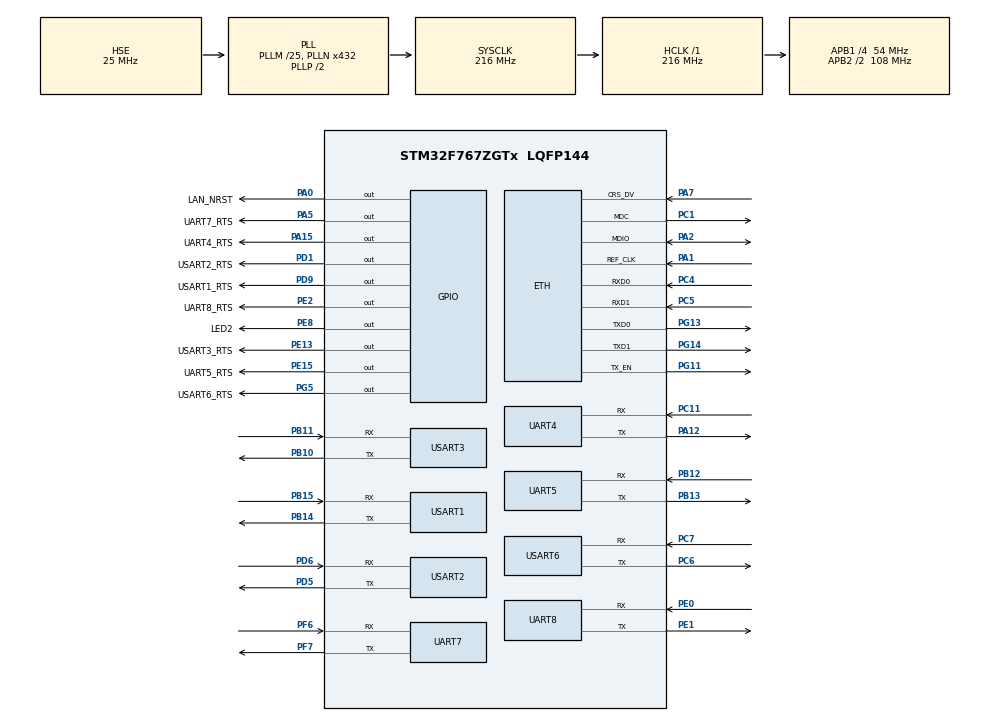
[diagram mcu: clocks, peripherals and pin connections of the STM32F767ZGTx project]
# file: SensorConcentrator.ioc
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CORTEX_M7.ART_ACCELERATOR_ENABLE=1
CORTEX_M7.AccessPermission_Spec=MPU_REGION_FULL_ACCESS
CORTEX_M7.BaseAddress_Spec=0x20000000
CORTEX_M7.CPU_DCache=Enabled
CORTEX_M7.CPU_ICache=Enabled
CORTEX_M7.DisableExec_Spec=MPU_INSTRUCTION_ACCESS_ENABLE
CORTEX_M7.Enable_S-Cortex_Memory_Protection_Unit_Region1_Settings_S=__NULL
CORTEX_M7.Enable_S-Cortex_Memory_Protection_Unit_Region2_Settings_S=__NULL
CORTEX_M7.IsBufferable_Spec=MPU_ACCESS_NOT_BUFFERABLE
CORTEX_M7.IsCacheable_Spec=MPU_ACCESS_NOT_CACHEABLE
CORTEX_M7.IsShareable_Spec=MPU_ACCESS_SHAREABLE
CORTEX_M7.Size_Spec=MPU_REGION_SIZE_512KB
CORTEX_M7.SubRegionDisable_Spec=0x00
CORTEX_M7.TypeExtField_Spec=MPU_TEX_LEVEL1
CORTEX_M7.default_mode_Activation=1
Dma.Request0=USART1_RX
Dma.Request1=USART1_TX
Dma.Request10=UART5_RX
Dma.Request11=UART5_TX
Dma.Request2=USART2_RX
Dma.Request3=USART2_TX
Dma.Request4=USART3_RX
Dma.Request5=USART3_TX
Dma.Request6=USART6_RX
Dma.Request7=USART6_TX
Dma.Request8=UART4_RX
Dma.Request9=UART4_TX
Dma.UART4_RX.8.Direction=DMA_PERIPH_TO_MEMORY
Dma.UART4_RX.8.FIFOMode=DMA_FIFOMODE_DISABLE
Dma.UART4_RX.8.Instance=DMA1_Stream2
Dma.UART4_RX.8.MemDataAlignment=DMA_MDATAALIGN_BYTE
Dma.UART4_RX.8.MemInc=DMA_MINC_ENABLE
Dma.UART4_RX.8.Mode=DMA_CIRCULAR
Dma.UART4_RX.8.PeriphDataAlignment=DMA_PDATAALIGN_BYTE
Dma.UART4_RX.8.PeriphInc=DMA_PINC_DISABLE
Dma.UART4_RX.8.Priority=DMA_PRIORITY_LOW
Dma.UART4_TX.9.Direction=DMA_MEMORY_TO_PERIPH
Dma.UART4_TX.9.FIFOMode=DMA_FIFOMODE_DISABLE
Dma.UART4_TX.9.Instance=DMA1_Stream4
Dma.UART4_TX.9.MemDataAlignment=DMA_MDATAALIGN_BYTE
Dma.UART4_TX.9.MemInc=DMA_MINC_ENABLE
Dma.UART4_TX.9.Mode=DMA_NORMAL
Dma.UART4_TX.9.PeriphDataAlignment=DMA_PDATAALIGN_BYTE
Dma.UART4_TX.9.PeriphInc=DMA_PINC_DISABLE
Dma.UART4_TX.9.Priority=DMA_PRIORITY_LOW
Dma.UART5_RX.10.Direction=DMA_PERIPH_TO_MEMORY
Dma.UART5_RX.10.FIFOMode=DMA_FIFOMODE_DISABLE
Dma.UART5_RX.10.Instance=DMA1_Stream0
Dma.UART5_RX.10.MemDataAlignment=DMA_MDATAALIGN_BYTE
Dma.UART5_RX.10.MemInc=DMA_MINC_ENABLE
Dma.UART5_RX.10.Mode=DMA_CIRCULAR
Dma.UART5_RX.10.PeriphDataAlignment=DMA_PDATAALIGN_BYTE
Dma.UART5_RX.10.PeriphInc=DMA_PINC_DISABLE
Dma.UART5_RX.10.Priority=DMA_PRIORITY_LOW
Dma.UART5_TX.11.Direction=DMA_MEMORY_TO_PERIPH
Dma.UART5_TX.11.FIFOMode=DMA_FIFOMODE_DISABLE
Dma.UART5_TX.11.Instance=DMA1_Stream7
Dma.UART5_TX.11.MemDataAlignment=DMA_MDATAALIGN_BYTE
Dma.UART5_TX.11.MemInc=DMA_MINC_ENABLE
Dma.UART5_TX.11.Mode=DMA_NORMAL
Dma.UART5_TX.11.PeriphDataAlignment=DMA_PDATAALIGN_BYTE
Dma.UART5_TX.11.PeriphInc=DMA_PINC_DISABLE
Dma.UART5_TX.11.Priority=DMA_PRIORITY_LOW
Dma.USART1_RX.0.Direction=DMA_PERIPH_TO_MEMORY
Dma.USART1_RX.0.FIFOMode=DMA_FIFOMODE_DISABLE
Dma.USART1_RX.0.Instance=DMA2_Stream2
Dma.USART1_RX.0.MemDataAlignment=DMA_MDATAALIGN_BYTE
Dma.USART1_RX.0.MemInc=DMA_MINC_ENABLE
Dma.USART1_RX.0.Mode=DMA_CIRCULAR
Dma.USART1_RX.0.PeriphDataAlignment=DMA_PDATAALIGN_BYTE
Dma.USART1_RX.0.PeriphInc=DMA_PINC_DISABLE
Dma.USART1_RX.0.Priority=DMA_PRIORITY_LOW
Dma.USART1_TX.1.Direction=DMA_MEMORY_TO_PERIPH
Dma.USART1_TX.1.FIFOMode=DMA_FIFOMODE_DISABLE
Dma.USART1_TX.1.Instance=DMA2_Stream7
Dma.USART1_TX.1.MemDataAlignment=DMA_MDATAALIGN_BYTE
Dma.USART1_TX.1.MemInc=DMA_MINC_ENABLE
Dma.USART1_TX.1.Mode=DMA_NORMAL
Dma.USART1_TX.1.PeriphDataAlignment=DMA_PDATAALIGN_BYTE
Dma.USART1_TX.1.PeriphInc=DMA_PINC_DISABLE
Dma.USART1_TX.1.Priority=DMA_PRIORITY_LOW
Dma.USART2_RX.2.Direction=DMA_PERIPH_TO_MEMORY
Dma.USART2_RX.2.FIFOMode=DMA_FIFOMODE_DISABLE
Dma.USART2_RX.2.Instance=DMA1_Stream5
Dma.USART2_RX.2.MemDataAlignment=DMA_MDATAALIGN_BYTE
Dma.USART2_RX.2.MemInc=DMA_MINC_ENABLE
Dma.USART2_RX.2.Mode=DMA_CIRCULAR
Dma.USART2_RX.2.PeriphDataAlignment=DMA_PDATAALIGN_BYTE
Dma.USART2_RX.2.PeriphInc=DMA_PINC_DISABLE
Dma.USART2_RX.2.Priority=DMA_PRIORITY_LOW
Dma.USART2_TX.3.Direction=DMA_MEMORY_TO_PERIPH
Dma.USART2_TX.3.FIFOMode=DMA_FIFOMODE_DISABLE
Dma.USART2_TX.3.Instance=DMA1_Stream6
Dma.USART2_TX.3.MemDataAlignment=DMA_MDATAALIGN_BYTE
Dma.USART2_TX.3.MemInc=DMA_MINC_ENABLE
Dma.USART2_TX.3.Mode=DMA_NORMAL
Dma.USART2_TX.3.PeriphDataAlignment=DMA_PDATAALIGN_BYTE
Dma.USART2_TX.3.PeriphInc=DMA_PINC_DISABLE
Dma.USART2_TX.3.Priority=DMA_PRIORITY_LOW
Dma.USART3_RX.4.Direction=DMA_PERIPH_TO_MEMORY
Dma.USART3_RX.4.FIFOMode=DMA_FIFOMODE_DISABLE
Dma.USART3_RX.4.Instance=DMA1_Stream1
Dma.USART3_RX.4.MemDataAlignment=DMA_MDATAALIGN_BYTE
Dma.USART3_RX.4.MemInc=DMA_MINC_ENABLE
Dma.USART3_RX.4.Mode=DMA_CIRCULAR
Dma.USART3_RX.4.PeriphDataAlignment=DMA_PDATAALIGN_BYTE
Dma.USART3_RX.4.PeriphInc=DMA_PINC_DISABLE
Dma.USART3_RX.4.Priority=DMA_PRIORITY_LOW
Dma.USART3_TX.5.Direction=DMA_MEMORY_TO_PERIPH
Dma.USART3_TX.5.FIFOMode=DMA_FIFOMODE_DISABLE
Dma.USART3_TX.5.Instance=DMA1_Stream3
Dma.USART3_TX.5.MemDataAlignment=DMA_MDATAALIGN_BYTE
Dma.USART3_TX.5.MemInc=DMA_MINC_ENABLE
Dma.USART3_TX.5.Mode=DMA_NORMAL
Dma.USART3_TX.5.PeriphDataAlignment=DMA_PDATAALIGN_BYTE
Dma.USART3_TX.5.PeriphInc=DMA_PINC_DISABLE
Dma.USART3_TX.5.Priority=DMA_PRIORITY_LOW
Dma.USART6_RX.6.Direction=DMA_PERIPH_TO_MEMORY
Dma.USART6_RX.6.FIFOMode=DMA_FIFOMODE_DISABLE
Dma.USART6_RX.6.Instance=DMA2_Stream1
Dma.USART6_RX.6.MemDataAlignment=DMA_MDATAALIGN_BYTE
Dma.USART6_RX.6.MemInc=DMA_MINC_ENABLE
Dma.USART6_RX.6.Mode=DMA_CIRCULAR
Dma.USART6_RX.6.PeriphDataAlignment=DMA_PDATAALIGN_BYTE
Dma.USART6_RX.6.PeriphInc=DMA_PINC_DISABLE
Dma.USART6_RX.6.Priority=DMA_PRIORITY_LOW
Dma.USART6_TX.7.Direction=DMA_MEMORY_TO_PERIPH
Dma.USART6_TX.7.FIFOMode=DMA_FIFOMODE_DISABLE
Dma.USART6_TX.7.Instance=DMA2_Stream6
Dma.USART6_TX.7.MemDataAlignment=DMA_MDATAALIGN_BYTE
Dma.USART6_TX.7.MemInc=DMA_MINC_ENABLE
Dma.USART6_TX.7.Mode=DMA_NORMAL
Dma.USART6_TX.7.PeriphDataAlignment=DMA_PDATAALIGN_BYTE
Dma.USART6_TX.7.PeriphInc=DMA_PINC_DISABLE
Dma.USART6_TX.7.Priority=DMA_PRIORITY_LOW
ETH.ETH_RX_DESC_CNT=8
ETH.ETH_TX_DESC_CNT=8
ETH.MediaInterface=HAL_ETH_RMII_MODE
ETH.RxDescAddress=0x20010200
ETH.TxDescAddress=0x20010000
FREERTOS.INCLUDE_pcTaskGetTaskName=1
FREERTOS.INCLUDE_uxTaskGetStackHighWaterMark=1
FREERTOS.INCLUDE_uxTaskGetStackHighWaterMark2=1
FREERTOS.INCLUDE_vTaskDelayUntil=1
FREERTOS.INCLUDE_xTaskGetCurrentTaskHandle=1
FREERTOS.Tasks01=defaultTask,0,1024,StartDefaultTask,Default,NULL,Dynamic,NULL,NULL
FREERTOS.configCHECK_FOR_STACK_OVERFLOW=2
FREERTOS.configENABLE_FPU=1
FREERTOS.configMAX_PRIORITIES=20
FREERTOS.configMINIMAL_STACK_SIZE=256
FREERTOS.configQUEUE_REGISTRY_SIZE=16
FREERTOS.configTIMER_QUEUE_LENGTH=16
FREERTOS.configTIMER_TASK_PRIORITY=4
FREERTOS.configTOTAL_HEAP_SIZE=102400
FREERTOS.configUSE_COUNTING_SEMAPHORES=1
FREERTOS.configUSE_MALLOC_FAILED_HOOK=1
FREERTOS.configUSE_RECURSIVE_MUTEXES=1
FREERTOS.configUSE_TIMERS=1
FREERTOS.configUSE_TRACE_FACILITY=1
LWIP.BSP.number=1
LWIP.DEFAULT_THREAD_STACKSIZE=2048
LWIP.ETH_RX_BUFFER_CNT=32
LWIP.LWIP_DHCP=0
LWIP.LWIP_RAM_HEAP_POINTER=0x00000000
LWIP.LWIP_SNTP=1
LWIP.LWIP_TFTP=1
LWIP.MEMP_NUM_PBUF=64
LWIP.MEMP_NUM_TCP_SEG=24
LWIP.MEM_SIZE=24*1024
LWIP.PBUF_POOL_SIZE=32
LWIP.TCPIP_THREAD_STACKSIZE=4096
LWIP.TCP_SND_QUEUELEN=24
LWIP.Version=v2.1.2_Cube
LWIP0.BSP.STBoard=false
LWIP0.BSP.api=BSP_COMPONENT_DRIVER
LWIP0.BSP.component=LAN8742
LWIP0.BSP.instance=LAN8742
LWIP0.BSP.name=Driver_PHY
LWIP0.BSP.semaphore=S_LAN8742
LWIP0.BSP.solution=LAN8742
Mcu.Family=STM32F7
Mcu.Name=STM32F767ZGTx
Mcu.Package=LQFP144
NVIC.DMA1_Stream0_IRQn=true\:5\:0\:false\:false\:true\:true\:false\:true\:true
NVIC.DMA1_Stream1_IRQn=true\:5\:0\:false\:false\:true\:true\:false\:true\:true
NVIC.DMA1_Stream2_IRQn=true\:5\:0\:false\:false\:true\:true\:false\:true\:true
NVIC.DMA1_Stream3_IRQn=true\:5\:0\:false\:false\:true\:true\:false\:true\:true
NVIC.DMA1_Stream4_IRQn=true\:5\:0\:false\:false\:true\:true\:false\:true\:true
NVIC.DMA1_Stream5_IRQn=true\:5\:0\:false\:false\:true\:true\:false\:true\:true
NVIC.DMA1_Stream6_IRQn=true\:5\:0\:false\:false\:true\:true\:false\:true\:true
NVIC.DMA1_Stream7_IRQn=true\:5\:0\:false\:false\:true\:true\:false\:true\:true
NVIC.DMA2_Stream1_IRQn=true\:5\:0\:false\:false\:true\:true\:false\:true\:true
NVIC.DMA2_Stream2_IRQn=true\:5\:0\:false\:false\:true\:true\:false\:true\:true
NVIC.DMA2_Stream6_IRQn=true\:5\:0\:false\:false\:true\:true\:false\:true\:true
NVIC.DMA2_Stream7_IRQn=true\:5\:0\:false\:false\:true\:true\:false\:true\:true
NVIC.ETH_IRQn=true\:5\:0\:false\:false\:true\:true\:true\:true\:true
NVIC.PriorityGroup=NVIC_PRIORITYGROUP_4
NVIC.TIM7_IRQn=true\:15\:0\:false\:false\:true\:false\:false\:true\:true
NVIC.TimeBase=TIM7_IRQn
NVIC.TimeBaseIP=TIM7
NVIC.UART4_IRQn=true\:5\:0\:false\:false\:true\:true\:false\:true\:true
NVIC.UART5_IRQn=true\:5\:0\:false\:false\:true\:true\:false\:true\:true
NVIC.UART7_IRQn=true\:5\:0\:false\:false\:true\:true\:true\:true\:true
NVIC.UART8_IRQn=true\:5\:0\:false\:false\:true\:true\:false\:true\:true
NVIC.USART1_IRQn=true\:5\:0\:false\:false\:true\:true\:true\:true\:true
NVIC.USART2_IRQn=true\:5\:0\:false\:false\:true\:true\:false\:true\:true
NVIC.USART3_IRQn=true\:5\:0\:false\:false\:true\:true\:false\:true\:true
NVIC.USART6_IRQn=true\:5\:0\:false\:false\:true\:true\:false\:true\:true
PA0/WKUP.GPIO_Label=LAN_NRST
PA0/WKUP.GPIO_Speed=GPIO_SPEED_FREQ_LOW
PA0/WKUP.PinState=GPIO_PIN_SET
PA0/WKUP.Signal=GPIO_Output
PA1.Mode=RMII
PA1.Signal=ETH_REF_CLK
PA12.Mode=Asynchronous
PA12.Signal=UART4_TX
PA13.GPIO_Label=SWDIO
PA13.Mode=Serial_Wire
PA13.Signal=SYS_JTMS-SWDIO
PA14.GPIO_Label=SWCLK
PA14.Mode=Serial_Wire
PA14.Signal=SYS_JTCK-SWCLK
PA15.GPIO_Label=UART4_RTS
PA15.Signal=GPIO_Output
PA2.Mode=RMII
PA2.Signal=ETH_MDIO
PA5.GPIO_Label=UART7_RTS
PA5.Signal=GPIO_Output
PA7.Mode=RMII
PA7.Signal=ETH_CRS_DV
PB10.Mode=Asynchronous
PB10.Signal=USART3_TX
PB11.Mode=Asynchronous
PB11.Signal=USART3_RX
PB12.Mode=Asynchronous
PB12.Signal=UART5_RX
PB13.Mode=Asynchronous
PB13.Signal=UART5_TX
PB14.Mode=Asynchronous
PB14.Signal=USART1_TX
PB15.Mode=Asynchronous
PB15.Signal=USART1_RX
PC1.Mode=RMII
PC1.Signal=ETH_MDC
PC11.Mode=Asynchronous
PC11.Signal=UART4_RX
PC14/OSC32_IN.Mode=LSE-External-Oscillator
PC14/OSC32_IN.Signal=RCC_OSC32_IN
PC15/OSC32_OUT.Mode=LSE-External-Oscillator
PC15/OSC32_OUT.Signal=RCC_OSC32_OUT
PC4.Mode=RMII
PC4.Signal=ETH_RXD0
PC5.Mode=RMII
PC5.Signal=ETH_RXD1
PC6.Mode=Asynchronous
PC6.Signal=USART6_TX
PC7.Mode=Asynchronous
PC7.Signal=USART6_RX
PD1.GPIO_Label=USART2_RTS
PD1.Signal=GPIO_Output
PD5.Mode=Asynchronous
PD5.Signal=USART2_TX
PD6.Mode=Asynchronous
PD6.Signal=USART2_RX
PD9.GPIO_Label=USART1_RTS
PD9.Signal=GPIO_Output
PE0.Mode=Asynchronous
PE0.Signal=UART8_RX
PE1.Mode=Asynchronous
PE1.Signal=UART8_TX
PE13.GPIO_Label=USART3_RTS
PE13.Signal=GPIO_Output
PE15.GPIO_Label=UART5_RTS
PE15.Signal=GPIO_Output
PE2.GPIO_Label=UART8_RTS
PE2.Signal=GPIO_Output
PE8.GPIO_Label=LED2
PE8.Signal=GPIO_Output
PF6.Mode=Asynchronous
PF6.Signal=UART7_RX
PF7.Mode=Asynchronous
PF7.Signal=UART7_TX
PG11.Mode=RMII
PG11.Signal=ETH_TX_EN
PG13.Mode=RMII
PG13.Signal=ETH_TXD0
PG14.Mode=RMII
PG14.Signal=ETH_TXD1
PG5.GPIO_Label=USART6_RTS
PG5.Signal=GPIO_Output
PH0/OSC_IN.Mode=HSE-External-Oscillator
PH0/OSC_IN.Signal=RCC_OSC_IN
PH1/OSC_OUT.Mode=HSE-External-Oscillator
PH1/OSC_OUT.Signal=RCC_OSC_OUT
ProjectManager.HeapSize=0x1200
ProjectManager.StackSize=0x1000
ProjectManager.TargetToolchain=CMake
RCC.AHBFreq_Value=216000000
RCC.APB1CLKDivider=RCC_HCLK_DIV4
RCC.APB1Freq_Value=54000000
RCC.APB1TimFreq_Value=108000000
RCC.APB2CLKDivider=RCC_HCLK_DIV2
RCC.APB2Freq_Value=108000000
RCC.APB2TimFreq_Value=216000000
RCC.CortexFreq_Value=216000000
RCC.HCLKFreq_Value=216000000
RCC.HSE_VALUE=25000000
RCC.HSI_VALUE=16000000
RCC.PLLM=25
RCC.PLLN=432
RCC.PLLSourceVirtual=RCC_PLLSOURCE_HSE
RCC.SYSCLKFreq_VALUE=216000000
RCC.SYSCLKSource=RCC_SYSCLKSOURCE_PLLCLK
RCC.USBFreq_Value=216000000
RCC.VCOOutputFreq_Value=432000000
RTC.Month=RTC_MONTH_SEPTEMBER
RTC.WeekDay=RTC_WEEKDAY_FRIDAY
RTC.Year=26
USART1.VirtualMode-Asynchronous=VM_ASYNC
USART2.VirtualMode-Asynchronous=VM_ASYNC
USART3.VirtualMode-Asynchronous=VM_ASYNC
USART6.VirtualMode-Asynchronous=VM_ASYNC
VP_FREERTOS_VS_CMSIS_V1.Mode=CMSIS_V1
VP_IWDG_VS_IWDG.Mode=IWDG_Activate
VP_LWIP_VS_Enabled.Mode=Enabled
VP_RTC_VS_RTC_Activate.Mode=RTC_Enabled
VP_RTC_VS_RTC_Calendar.Mode=RTC_Calendar
VP_SYS_VS_tim7.Mode=TIM7
board=custom

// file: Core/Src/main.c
/* USER CODE BEGIN Header */
/**
  ******************************************************************************
  * @file           : main.c
  * @brief          : Main program body
  ******************************************************************************
  * @attention
  *
  * Copyright (c) 2026 STMicroelectronics.
  * All rights reserved.
  *
  * This software is licensed under terms that can be found in the LICENSE file
  * in the root directory of this software component.
  * If no LICENSE file comes with this software, it is provided AS-IS.
  *
  ******************************************************************************
  */
/* USER CODE END Header */
#include "main.h"
#include "cmsis_os.h"
#include "dma.h"
#include "iwdg.h"
#include "lwip.h"
#include "rtc.h"
#include "usart.h"
#include "gpio.h"

/* USER CODE BEGIN Includes */
#include "debug_uart.h"
#include "cJSON.h"
/* USER CODE END Includes */

void SystemClock_Config(void);
static void MPU_Config(void);
void MX_FREERTOS_Init(void);

int main(void)
{

  /* MPU Configuration--------------------------------------------------------*/
  MPU_Config();

  /* Enable the CPU Cache */

  /* Enable I-Cache---------------------------------------------------------*/
  SCB_EnableICache();

  /* Enable D-Cache---------------------------------------------------------*/
  SCB_EnableDCache();

  /* MCU Configuration--------------------------------------------------------*/

  /* Reset of all peripherals, Initializes the Flash interface and the Systick. */
  HAL_Init();

  /* Configure the system clock */
  SystemClock_Config();

  /* Initialize all configured peripherals */
  MX_GPIO_Init();
  MX_DMA_Init();
  MX_UART4_Init();
  MX_UART5_Init();
  MX_UART7_Init();
  MX_UART8_Init();
  MX_USART1_UART_Init();
  MX_USART2_UART_Init();
  MX_USART3_UART_Init();
  MX_USART6_UART_Init();
  //MX_IWDG_Init();
  MX_RTC_Init();
  /* USER CODE BEGIN 2 */
  /* 临时调试口：上电即初始化，不依赖任何任务是否创建成功 */
  DebugUart_Init();
  cJSON_Init_FreeRTOS_Heap();
  /* USER CODE END 2 */

  /* Call init function for freertos objects (in cmsis_os2.c) */
  MX_FREERTOS_Init();

  /* Start scheduler */
  osKernelStart();

  /* We should never get here as control is now taken by the scheduler */

  /* Infinite loop */
  while (1)
  {

  }
}

void SystemClock_Config(void)
{
  RCC_OscInitTypeDef RCC_OscInitStruct = {0};
  RCC_ClkInitTypeDef RCC_ClkInitStruct = {0};

  /** Configure LSE Drive Capability
  */
  HAL_PWR_EnableBkUpAccess();

  /** Configure the main internal regulator output voltage
  */
  __HAL_RCC_PWR_CLK_ENABLE();
  __HAL_PWR_VOLTAGESCALING_CONFIG(PWR_REGULATOR_VOLTAGE_SCALE1);

  /** Initializes the RCC Oscillators according to the specified parameters
  * in the RCC_OscInitTypeDef structure.
  */
  RCC_OscInitStruct.OscillatorType = RCC_OSCILLATORTYPE_LSI|RCC_OSCILLATORTYPE_HSE;
  RCC_OscInitStruct.HSEState = RCC_HSE_ON;
  RCC_OscInitStruct.LSIState = RCC_LSI_ON;
  RCC_OscInitStruct.PLL.PLLState = RCC_PLL_ON;
  RCC_OscInitStruct.PLL.PLLSource = RCC_PLLSOURCE_HSE;
  RCC_OscInitStruct.PLL.PLLM = 25;
  RCC_OscInitStruct.PLL.PLLN = 432;
  RCC_OscInitStruct.PLL.PLLP = RCC_PLLP_DIV2;
  RCC_OscInitStruct.PLL.PLLQ = 2;
  RCC_OscInitStruct.PLL.PLLR = 2;
  if (HAL_RCC_OscConfig(&RCC_OscInitStruct) != HAL_OK)
  {
    Error_Handler();
  }

  /** Activate the Over-Drive mode
  */
  if (HAL_PWREx_EnableOverDrive() != HAL_OK)
  {
    Error_Handler();
  }

  /** Initializes the CPU, AHB and APB buses clocks
  */
  RCC_ClkInitStruct.ClockType = RCC_CLOCKTYPE_HCLK|RCC_CLOCKTYPE_SYSCLK
                              |RCC_CLOCKTYPE_PCLK1|RCC_CLOCKTYPE_PCLK2;
  RCC_ClkInitStruct.SYSCLKSource = RCC_SYSCLKSOURCE_PLLCLK;
  RCC_ClkInitStruct.AHBCLKDivider = RCC_SYSCLK_DIV1;
  RCC_ClkInitStruct.APB1CLKDivider = RCC_HCLK_DIV4;
  RCC_ClkInitStruct.APB2CLKDivider = RCC_HCLK_DIV2;

  if (HAL_RCC_ClockConfig(&RCC_ClkInitStruct, FLASH_LATENCY_7) != HAL_OK)
  {
    Error_Handler();
  }
}

 /* MPU Configuration */

void MPU_Config(void)
{
  MPU_Region_InitTypeDef MPU_InitStruct = {0};

  /* Disables the MPU */
  HAL_MPU_Disable();

  /** Initializes and configures the Region and the memory to be protected
  */
  MPU_InitStruct.Enable = MPU_REGION_ENABLE;
  MPU_InitStruct.Number = MPU_REGION_NUMBER0;
  MPU_InitStruct.BaseAddress = 0x20000000;
  MPU_InitStruct.Size = MPU_REGION_SIZE_512KB;
  MPU_InitStruct.SubRegionDisable = 0x00;
  MPU_InitStruct.TypeExtField = MPU_TEX_LEVEL1;
  MPU_InitStruct.AccessPermission = MPU_REGION_FULL_ACCESS;
  MPU_InitStruct.DisableExec = MPU_INSTRUCTION_ACCESS_ENABLE;
  MPU_InitStruct.IsShareable = MPU_ACCESS_SHAREABLE;
  MPU_InitStruct.IsCacheable = MPU_ACCESS_NOT_CACHEABLE;
  MPU_InitStruct.IsBufferable = MPU_ACCESS_NOT_BUFFERABLE;

  HAL_MPU_ConfigRegion(&MPU_InitStruct);
  /* Enables the MPU */
  HAL_MPU_Enable(MPU_PRIVILEGED_DEFAULT);

}

void HAL_TIM_PeriodElapsedCallback(TIM_HandleTypeDef *htim)
{
  if (htim->Instance == TIM7)
  {
    HAL_IncTick();
  }
}

void Error_Handler(void)
{
  __disable_irq();
  while (1)
  {
  }
}

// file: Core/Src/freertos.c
/* USER CODE BEGIN Header */
/**
  ******************************************************************************
  * File Name          : freertos.c
  * Description        : Code for freertos applications
  ******************************************************************************
  * @attention
  *
  * Copyright (c) 2026 STMicroelectronics.
  * All rights reserved.
  *
  * This software is licensed under terms that can be found in the LICENSE file
  * in the root directory of this software component.
  * If no LICENSE file comes with this software, it is provided AS-IS.
  *
  ******************************************************************************
  */
/* USER CODE END Header */

#include "FreeRTOS.h"
#include "task.h"
#include "main.h"
#include "cmsis_os.h"

/* USER CODE BEGIN Includes */
#include "iwdg.h"
#include "msg_queue.h"
#include "net_comm_task.h"
#include "sensor_hub.h"
#include <stdio.h>

/* USER CODE END Includes */

/* USER CODE BEGIN Variables */
uint32_t start =0;
uint32_t Initialization_time = 0;

/* USER CODE END Variables */
osThreadId defaultTaskHandle;

/* USER CODE BEGIN FunctionPrototypes */

osThreadId IWDGTaskHandle;
osThreadId Task_InitTaskHandle;
osThreadId Udp_discover_taskHandle;
osThreadId Tcp_client_taskHandle;
osThreadId Tcp_sender_taskHandle;
osThreadId RebootTaskHandle;
osThreadId TimeSyncTaskHandle;
osThreadId SensorHubTaskHandle;

void IWDGTask(const void * argument);
void Task_InitTask(const void * argument);
void PrintTaskStackAndCount(void);
/* USER CODE END FunctionPrototypes */

void StartDefaultTask(void const * argument);

extern void MX_LWIP_Init(void);
void MX_FREERTOS_Init(void); /* (MISRA C 2004 rule 8.1) */

/* GetIdleTaskMemory prototype (linked to static allocation support) */
void vApplicationGetIdleTaskMemory( StaticTask_t **ppxIdleTaskTCBBuffer, StackType_t **ppxIdleTaskStackBuffer, uint32_t *pulIdleTaskStackSize );

/* GetTimerTaskMemory prototype (linked to static allocation support) */
void vApplicationGetTimerTaskMemory( StaticTask_t **ppxTimerTaskTCBBuffer, StackType_t **ppxTimerTaskStackBuffer, uint32_t *pulTimerTaskStackSize );

/* Hook prototypes */
void vApplicationStackOverflowHook(xTaskHandle xTask, signed char *pcTaskName);
void vApplicationMallocFailedHook(void);

/* USER CODE BEGIN 4 */
void vApplicationStackOverflowHook(xTaskHandle xTask, signed char *pcTaskName)
{
   /* Run time stack overflow checking is performed if
   configCHECK_FOR_STACK_OVERFLOW is defined to 1 or 2. This hook function is
   called if a stack overflow is detected. */
   (void)xTask;
   printf("\r\n!!! STACK OVERFLOW DETECTED in task: %s !!!\r\n", pcTaskName);
   printf("Task stack high water mark (min free words): %lu\r\n",
          (unsigned long)uxTaskGetStackHighWaterMark(xTask));
   taskDISABLE_INTERRUPTS();
   for(;;);
}
/* USER CODE END 4 */

/* USER CODE BEGIN 5 */
__weak void vApplicationMallocFailedHook(void)
{
   /* vApplicationMallocFailedHook() will only be called if
   configUSE_MALLOC_FAILED_HOOK is set to 1 in FreeRTOSConfig.h. It is a hook
   function that will get called if a call to pvPortMalloc() fails.
   pvPortMalloc() is called internally by the kernel whenever a task, queue,
   timer or semaphore is created. It is also called by various parts of the
   demo application. If heap_1.c or heap_2.c are used, then the size of the
   heap available to pvPortMalloc() is defined by configTOTAL_HEAP_SIZE in
   FreeRTOSConfig.h, and the xPortGetFreeHeapSize() API function can be used
   to query the size of free heap space that remains (although it does not
   provide information on how the remaining heap might be fragmented). */
}
/* USER CODE END 5 */

/* USER CODE BEGIN GET_IDLE_TASK_MEMORY */
static StaticTask_t xIdleTaskTCBBuffer;
static StackType_t xIdleStack[configMINIMAL_STACK_SIZE];

void vApplicationGetIdleTaskMemory( StaticTask_t **ppxIdleTaskTCBBuffer, StackType_t **ppxIdleTaskStackBuffer, uint32_t *pulIdleTaskStackSize )
{
  *ppxIdleTaskTCBBuffer = &xIdleTaskTCBBuffer;
  *ppxIdleTaskStackBuffer = &xIdleStack[0];
  *pulIdleTaskStackSize = configMINIMAL_STACK_SIZE;
  /* place for user code */
}
/* USER CODE END GET_IDLE_TASK_MEMORY */

/* USER CODE BEGIN GET_TIMER_TASK_MEMORY */
static StaticTask_t xTimerTaskTCBBuffer;
static StackType_t xTimerStack[configTIMER_TASK_STACK_DEPTH];

void vApplicationGetTimerTaskMemory( StaticTask_t **ppxTimerTaskTCBBuffer, StackType_t **ppxTimerTaskStackBuffer, uint32_t *pulTimerTaskStackSize )
{
  *ppxTimerTaskTCBBuffer = &xTimerTaskTCBBuffer;
  *ppxTimerTaskStackBuffer = &xTimerStack[0];
  *pulTimerTaskStackSize = configTIMER_TASK_STACK_DEPTH;
  /* place for user code */
}
/* USER CODE END GET_TIMER_TASK_MEMORY */

void MX_FREERTOS_Init(void) {
  /* USER CODE BEGIN Init */
  fal_init();
  /* USER CODE END Init */

  /* Create the thread(s) */
  /* definition and creation of defaultTask */
  osThreadDef(defaultTask, StartDefaultTask, osPriorityNormal, 0, 1024);
  defaultTaskHandle = osThreadCreate(osThread(defaultTask), NULL);

  /* USER CODE BEGIN RTOS_THREADS */
  osThreadDef(IWDGTask, IWDGTask, osPriorityRealtime, 0, 128);//优先级最高，任务大小128字
  IWDGTaskHandle = osThreadCreate(osThread(IWDGTask), NULL);

  Mutex_Init();
  MsgQueue_Init();
  osDelay(3000);

  /* add threads, ... */
  /* USER CODE END RTOS_THREADS */

}

void StartDefaultTask(void const * argument)
{
  /* init code for LWIP */
  MX_LWIP_Init();
  /* USER CODE BEGIN StartDefaultTask */
  init_net_db();
  GenerateDeviceSNFromUID();
  net_config_init();

  osDelay(10000);//等待网口初始化完成，避免上电后立即发送 device_online 报文失败
  osThreadDef(Task_InitTask, Task_InitTask, osPriorityNormal, 0, 1024);
  Task_InitTaskHandle = osThreadCreate(osThread(Task_InitTask), NULL);
  /* Infinite loop */
  for(;;)
  {
    HAL_GPIO_TogglePin(LED2_GPIO_Port, LED2_Pin);
    osDelay(500);
  }
  /* USER CODE END StartDefaultTask */
}

/* USER CODE BEGIN Application */

void IWDGTask(const void * argument)
{
  for (;;)
  {
    /* MX_IWDG_Init() 被注释（看门狗未启用）时 hiwdg.Instance 为 NULL，
     * 直接 HAL_IWDG_Refresh 会解引用 NULL 触发 HardFault。仅在已初始化时才喂狗。 */
    if (hiwdg.Instance != NULL)
    {
      HAL_IWDG_Refresh(&hiwdg); // 循环末尾喂狗
    }
    vTaskDelay(pdMS_TO_TICKS(200));
  }
}

void Task_InitTask(const void * argument)
{
  /* FlashDB/KVDB 初始化需要较大栈空间，放在本任务（4096 字）执行，
   * 避免在 defaultTask（原 1024 字）中栈溢出破坏返回地址。 */

  osThreadDef(Udp_discover_task, Udp_discover_task, osPriorityNormal, 0, 2048);//任务大小2048字
  Udp_discover_taskHandle = osThreadCreate(osThread(Udp_discover_task), NULL);

  osThreadDef(Tcp_client_task, Tcp_client_task, osPriorityNormal, 0, 2048);//任务大小2048字
  Tcp_client_taskHandle = osThreadCreate(osThread(Tcp_client_task), NULL);

  osThreadDef(tcp_sender_task, tcp_sender_task, osPriorityNormal, 0, 2048);//任务大小2048字
  Tcp_sender_taskHandle = osThreadCreate(osThread(tcp_sender_task), NULL);

  osThreadDef(vRebootTask, vRebootTask, osPriorityNormal, 0, 512);//任务大小512字
  RebootTaskHandle = osThreadCreate(osThread(vRebootTask), NULL);

  osThreadDef(TimeSyncTask, TimeSyncTask, osPriorityNormal, 0, 1024);//任务大小1024字
  TimeSyncTaskHandle = osThreadCreate(osThread(TimeSyncTask), NULL);

  osThreadDef(SensorHub_Task, SensorHub_Task, osPriorityNormal, 0, 2048);//8路RS485传感器采集任务
  SensorHubTaskHandle = osThreadCreate(osThread(SensorHub_Task), NULL);

  LOG_RTS("init run time: %lu ms", HAL_GetTick() - start);

  /* 临时诊断：任务创建结果与剩余堆（排查堆不足导致任务创建失败） */
  printf("[DBG] heap left after tasks: %u bytes\r\n", (unsigned)xPortGetFreeHeapSize());
  printf("[DBG] task_create: sensorhub=%s tcp_client=%s udp=%s\r\n",
         SensorHubTaskHandle  ? "OK" : "FAIL",
         Tcp_client_taskHandle ? "OK" : "FAIL",
         Udp_discover_taskHandle ? "OK" : "FAIL");
  Initialization_time = (HAL_GetTick() - start + 10000)/1000; // 预留5秒，确保系统初始化完成
  vTaskDelay(5000);
  for (;;)
  {
    //PrintTaskStackAndCount();
    vTaskDelay(10000);

  }
}

void PrintTaskStackAndCount(void)
{
    // 1. 获取当前系统总任务数量
    UBaseType_t total_task_num = uxTaskGetNumberOfTasks();
    LOG_RTS("==================== System Task Info ====================");
    LOG_RTS("Total running task count: %lu", (unsigned long)total_task_num);
    LOG_RTS("----------------------------------------------------------");

    // 2. 逐个打印你创建的所有业务/网络任务最小剩余栈水位
    LOG_RTS("1 ,defaultTaskHandle         min stack left: %lu bytes", uxTaskGetStackHighWaterMark(defaultTaskHandle));
    LOG_RTS("2 ,IWDGTaskHandle            min stack left: %lu bytes", uxTaskGetStackHighWaterMark(IWDGTaskHandle));
    LOG_RTS("3 ,Task_InitTaskHandle       min stack left: %lu bytes", uxTaskGetStackHighWaterMark(Task_InitTaskHandle));
    LOG_RTS("4 ,Udp_discover_taskHandle   min stack left: %lu bytes", uxTaskGetStackHighWaterMark(Udp_discover_taskHandle));
    LOG_RTS("5 ,Tcp_client_taskHandle     min stack left: %lu bytes", uxTaskGetStackHighWaterMark(Tcp_client_taskHandle));
    LOG_RTS("6 ,Tcp_sender_taskHandle     min stack left: %lu bytes", uxTaskGetStackHighWaterMark(Tcp_sender_taskHandle));
    LOG_RTS("7 ,RebootTaskHandle          min stack left: %lu bytes", uxTaskGetStackHighWaterMark(RebootTaskHandle));
    LOG_RTS("8 ,TimeSyncTaskHandle        min stack left: %lu bytes", uxTaskGetStackHighWaterMark(TimeSyncTaskHandle));
    LOG_RTS("9 ,SensorHubTaskHandle       min stack left: %lu bytes", uxTaskGetStackHighWaterMark(SensorHubTaskHandle));

    LOG_RTS("----------------------------------------------------------");
    // 3. 打印堆内存使用水位
    size_t heap_free_now = xPortGetFreeHeapSize();//当前系统实时剩余可用堆内存字节数
    size_t heap_free_min = xPortGetMinimumEverFreeHeapSize();//堆内存出现过的最小剩余字节
    LOG_RTS("Heap Now Free: %u Bytes | Min Free Heap: %u Bytes", heap_free_now, heap_free_min);
    LOG_RTS("==========================================================\r\n");
}

/* USER CODE END Application */
